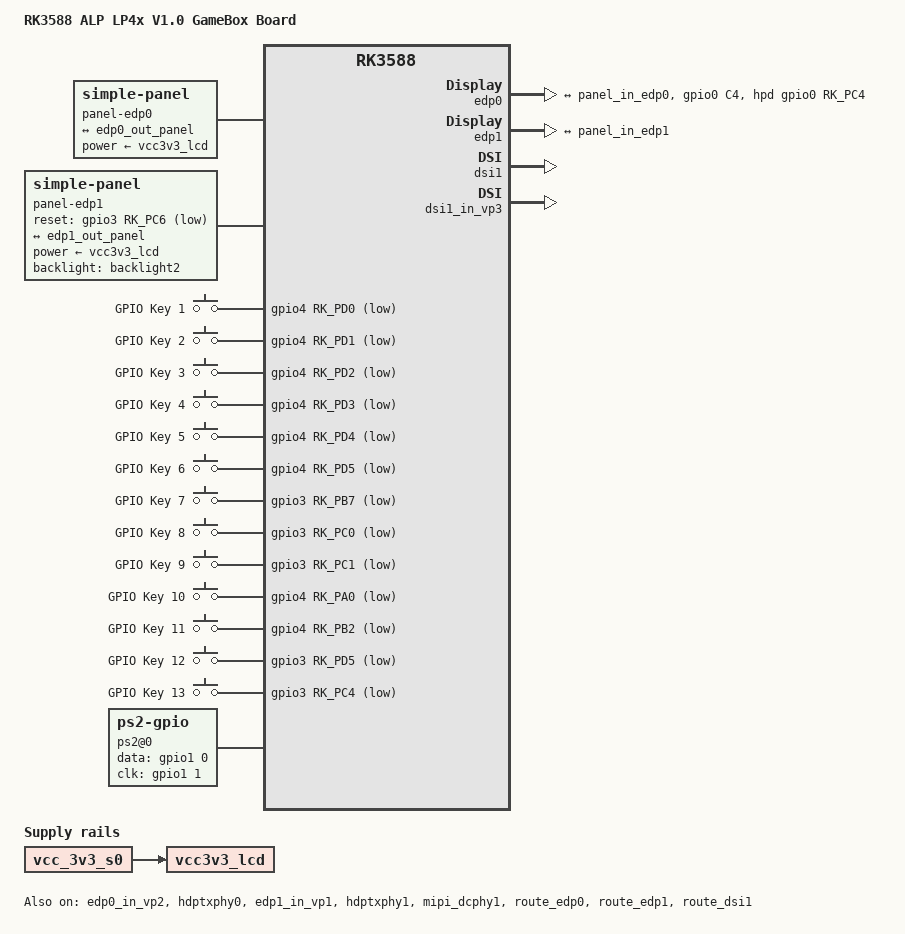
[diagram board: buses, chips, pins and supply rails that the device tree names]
// SPDX-License-Identifier: (GPL-2.0+ OR MIT)
/*
 * Copyright (c) 2021 Rockchip Electronics Co., Ltd.
 *
 */

/dts-v1/;

#include "rk3588-hugsun-dmc.dtsi"
#include "rk3588-linux.dtsi"

/ {
	model = "RK3588 ALP LP4x V1.0 GameBox Board";
	compatible = "rockchip,rk3588-dmc-alp-linux", "rockchip,rk3588";


	vcc3v3_lcd: vcc3v3-lcd {
		compatible = "regulator-fixed";
		regulator-name = "vcc3v3_lcd";
		vin-supply = <&vcc_3v3_s0>;
	};

	panel-edp0 {
		compatible = "simple-panel";
		power-supply = <&vcc3v3_lcd>;
		//reset-gpios = <&gpio3 RK_PC5 GPIO_ACTIVE_LOW>;
		pinctrl-names = "default";
		pinctrl-0 = <&edp0_rst_gpio>;
		prepare-delay-ms = <120>;
		enable-delay-ms = <120>;
		unprepare-delay-ms = <120>;
		disable-delay-ms = <120>;
		
		port {
			panel_in_edp0: endpoint {
				remote-endpoint = <&edp0_out_panel>;
			};
		};
	};

	panel-edp1 {
		compatible = "simple-panel";
		backlight = <&backlight2>;
		power-supply = <&vcc3v3_lcd>;
		reset-gpios = <&gpio3 RK_PC6 GPIO_ACTIVE_LOW>;
		pinctrl-names = "default";
		pinctrl-0 = <&edp1_rst_gpio>;
		prepare-delay-ms = <120>;
		enable-delay-ms = <120>;
		unprepare-delay-ms = <120>;
		disable-delay-ms = <120>;
		width-mm = <129>;
		height-mm = <171>;

		panel-timing {
			clock-frequency = <149600000>;
			hactive = <1920>;
			vactive = <1080>;
			hfront-porch = <160>;
			hsync-len = <32>;
			hback-porch = <72>;
			vfront-porch = <52>;
			vsync-len = <4>;
			vback-porch = <4>;
			hsync-active = <0>;
			vsync-active = <0>;
			de-active = <0>;
			pixelclk-active = <0>;
		};

		port {
			panel_in_edp1: endpoint {
				remote-endpoint = <&edp1_out_panel>;
			};
		};
	};

	gpio_keys: gpio-keys {
		compatible = "gpio-keys";
		pinctrl-names = "default";
		pinctrl-0 = <&gpiokey>;

		gpio_key1 {
			debounce-interval = <10>;
			gpios = <&gpio4 RK_PD0 GPIO_ACTIVE_LOW>;
			label = "GPIO Key 1";
			linux,code = <BTN_Z>;
			wakeup-source;
		};
		gpio_key2 {
			debounce-interval = <10>;
			gpios = <&gpio4 RK_PD1 GPIO_ACTIVE_LOW>;
			label = "GPIO Key 2";
			linux,code = <BTN_TR>;
			wakeup-source;
		};
		gpio_key3 {
			debounce-interval = <10>;
			gpios = <&gpio4 RK_PD2 GPIO_ACTIVE_LOW>;
			label = "GPIO Key 3";
			linux,code = <BTN_TR2>;
			wakeup-source;
		};
		gpio_key4 {
			debounce-interval = <10>;
			gpios = <&gpio4 RK_PD3 GPIO_ACTIVE_LOW>;
			label = "GPIO Key 4";
			linux,code = <BTN_MODE>;
			wakeup-source;
		};
		gpio_key5 {
			debounce-interval = <10>;
			gpios = <&gpio4 RK_PD4 GPIO_ACTIVE_LOW>;
			label = "GPIO Key 5";
			linux,code = <BTN_SOUTH>;
			wakeup-source;
		};
		gpio_key6 {
			debounce-interval = <10>;
			gpios = <&gpio4 RK_PD5 GPIO_ACTIVE_LOW>;
			label = "GPIO Key 6";
			linux,code = <BTN_TL>;
			wakeup-source;
		};
		gpio_key7 {
			debounce-interval = <10>;
			gpios = <&gpio3 RK_PB7 GPIO_ACTIVE_LOW>;
			label = "GPIO Key 7";
			linux,code = <ABS_HAT0X>;
			wakeup-source;
		};
		gpio_key8 {
			debounce-interval = <10>;
			gpios = <&gpio3 RK_PC0 GPIO_ACTIVE_LOW>;
			label = "GPIO Key 8";
			linux,code = <ABS_HAT0Y>;
			wakeup-source;
		};
		gpio_key9 {
			debounce-interval = <10>;
			gpios = <&gpio3 RK_PC1 GPIO_ACTIVE_LOW>;
			label = "GPIO Key 9";
			linux,code = <ABS_HAT0Y>;
			wakeup-source;
		};
		gpio_key10 {
			debounce-interval = <10>;
			gpios = <&gpio4 RK_PA0 GPIO_ACTIVE_LOW>;
			label = "GPIO Key 10";
			linux,code = <ABS_HAT0X>;
			wakeup-source;
		};
		gpio_key11 {
			debounce-interval = <10>;
			gpios = <&gpio4 RK_PB2 GPIO_ACTIVE_LOW>;
			label = "GPIO Key 11";
			linux,code = <BTN_THUMBR>;
			wakeup-source;
		};
		gpio_key12 {
			debounce-interval = <10>;
			gpios = <&gpio3 RK_PD5 GPIO_ACTIVE_LOW>;
			label = "GPIO Key 12";
			linux,code = <BTN_THUMBL>;
			wakeup-source;
		};
		gpio_key13 {
			debounce-interval = <10>;
			gpios = <&gpio3 RK_PC4 GPIO_ACTIVE_LOW>;
			label = "GPIO Key 13";
			linux,code = <KEY_ESC>;
			wakeup-source;
		};		
	};	
	
	ps2@0 {
	        compatible = "ps2-gpio";
	        status = "okay";

	        pinctrl-names = "default";
	        pinctrl-0 = <&ps2_gpios>;

	        data-gpios = <&gpio1 0 GPIO_ACTIVE_HIGH>;
	        clk-gpios = <&gpio1 1 GPIO_ACTIVE_HIGH>;
	};	
	
};

&edp0 {
	status = "okay";
	//force-hpd;
	pinctrl-names = "default";
	pinctrl-0 = <&edp0_hpd>;
	hpd-gpios = <&gpio0 RK_PC4 GPIO_ACTIVE_HIGH>;

	ports {
		port@1 {
			reg = <1>;

			edp0_out_panel: endpoint {
				remote-endpoint = <&panel_in_edp0>;
			};
		};
	};
};

&edp0_in_vp2 {
	status = "okay";
};

&hdptxphy0 {
	status = "okay";
};

&hdptxphy_hdmi0 {
	status = "disabled";
};

&edp1 {
	force-hpd;
	status = "okay";

	ports {
		port@1 {
			reg = <1>;

			edp1_out_panel: endpoint {
				remote-endpoint = <&panel_in_edp1>;
			};
		};
	};
};

&edp1_in_vp1 {
	status = "okay";
};

&hdptxphy1 {
	status = "okay";
};

&hdptxphy_hdmi1 {
	status = "disabled";
};

/*
 * mipi_dcphy1 needs to be enabled
 * when dsi1 is enabled
 */
&dsi1 {
	status = "okay";
};

&dsi1_in_vp2 {
	status = "disabled";
};

&dsi1_in_vp3 {
	status = "okay";
};

&mipi_dcphy1 {
	status = "okay";
};

&route_edp0 {
	connect = <&vp2_out_edp0>;
	status = "okay";
};

&route_edp1 {
	connect = <&vp1_out_edp1>;
	status = "okay";
};

&route_dsi1 {
	status = "okay";
	connect = <&vp3_out_dsi1>;
};

&pinctrl {
	buttons {
		gpiokey: gpiokey {
			rockchip,pins = 
				<4 RK_PD0 RK_FUNC_GPIO &pcfg_pull_up>,
				<4 RK_PD1 RK_FUNC_GPIO &pcfg_pull_up>,
				<4 RK_PD2 RK_FUNC_GPIO &pcfg_pull_up>,
				<4 RK_PD3 RK_FUNC_GPIO &pcfg_pull_up>,
				<4 RK_PD4 RK_FUNC_GPIO &pcfg_pull_up>,
				<4 RK_PD5 RK_FUNC_GPIO &pcfg_pull_up>,
				<3 RK_PB7 RK_FUNC_GPIO &pcfg_pull_up>,
				<3 RK_PC0 RK_FUNC_GPIO &pcfg_pull_up>,
				<3 RK_PC1 RK_FUNC_GPIO &pcfg_pull_up>,
				<4 RK_PA0 RK_FUNC_GPIO &pcfg_pull_up>,
				<4 RK_PB2 RK_FUNC_GPIO &pcfg_pull_up>,
				<3 RK_PD5 RK_FUNC_GPIO &pcfg_pull_up>,
				<3 RK_PC4 RK_FUNC_GPIO &pcfg_pull_up>;
		};
	};

	edp {
		edp0_hpd: edp0-hpd {
			rockchip,pins = <0 RK_PC4 0 &pcfg_pull_none>;
		};

		edp0_rst_gpio: edp0-rst-gpio {
			rockchip,pins = <3 RK_PC5 RK_FUNC_GPIO &pcfg_pull_up>;
		};

		edp1_rst_gpio: edp1-rst-gpio {
			rockchip,pins = <3 RK_PC6 RK_FUNC_GPIO &pcfg_pull_none>;
		};
	};
	
	ps2 {
		ps2_gpios: ps2-gpios {
			rockchip,pins = <1 RK_PA0 0 &pcfg_pull_none>,
					<1 RK_PA1 0 &pcfg_pull_none>;
		};
	};	

};


